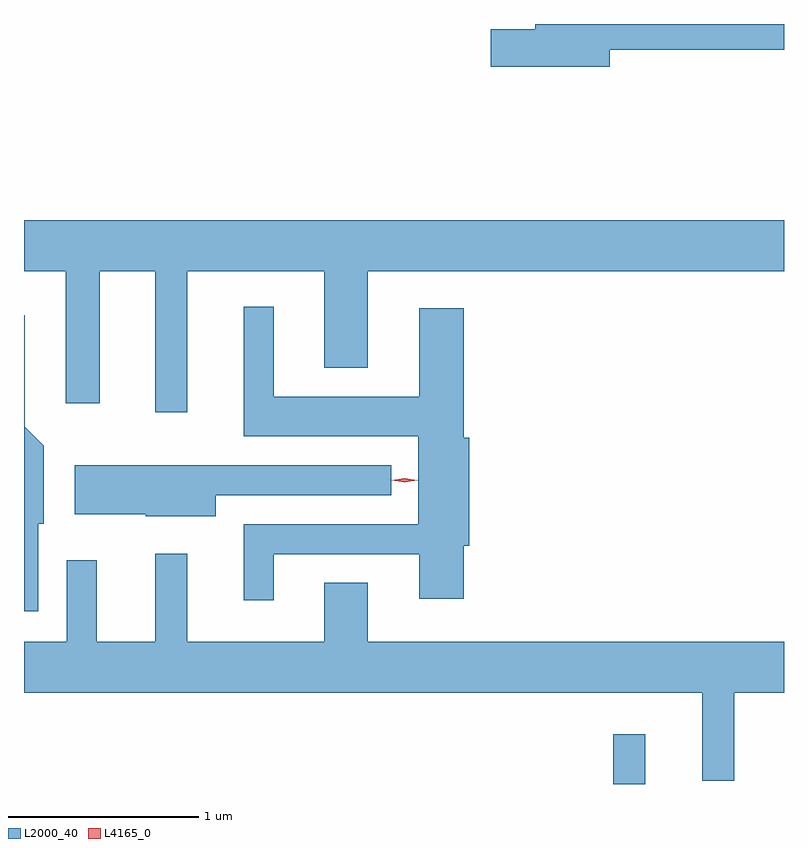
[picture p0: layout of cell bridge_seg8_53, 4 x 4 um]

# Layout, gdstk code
import gdstk
lib = gdstk.Library(unit=1e-6, precision=1e-09)
def R(c, l, rs):  # rectangles x0, y0, x1, y1
    for r in rs: c.add(gdstk.rectangle(r[:2], r[2:], *l))
def P(c, l, *ps):  # polygons
    for p in ps: c.add(gdstk.Polygon(p, *l))
L2000_40 = (2000, 40)
L4165_0 = (4165, 0)

bridge_seg8_53 = lib.new_cell('bridge_seg8_53')
R(bridge_seg8_53, L2000_40, [(1571.591,1902.536,1571.759,1902.798)])
P(bridge_seg8_53, L2000_40, [(1571.574,1906.401),(1572.49,1906.401),(1572.49,1906.536),(1571.181,1906.536),(1571.181,1906.509),(1570.946,1906.509),(1570.946,1906.311),(1571.574,1906.311)],
  [(1569.349,1905.236),(1570.071,1905.236),(1570.071,1904.726),(1570.299,1904.726),(1570.299,1905.236),(1572.49,1905.236),(1572.49,1905.504),(1568.49,1905.504),(1568.49,1905.236),(1568.711,1905.236),(1568.711,1904.541),(1568.889,1904.541),(1568.889,1905.236),(1569.181,1905.236),(1569.181,1904.493),(1569.349,1904.493)],
  [(1569.804,1903.746),(1570.571,1903.746),(1570.571,1903.511),(1570.804,1903.511),(1570.804,1903.791),(1570.834,1903.791),(1570.834,1904.359),(1570.804,1904.359),(1570.804,1905.039),(1570.571,1905.039),(1570.571,1904.574),(1569.804,1904.574),(1569.804,1905.048),(1569.646,1905.048),(1569.646,1904.366),(1570.566,1904.366),(1570.566,1903.904),(1569.646,1903.904),(1569.646,1903.503),(1569.804,1903.503)],
  [(1568.564,1903.906),(1568.594,1903.906),(1568.594,1904.317),(1568.494,1904.417),(1568.494,1905.004),(1568.49,1905.004),(1568.49,1903.446),(1568.564,1903.446)],
  [(1569.499,1904.056),(1570.423,1904.056),(1570.423,1904.214),(1568.756,1904.214),(1568.756,1903.956),(1569.13,1903.956),(1569.13,1903.946),(1569.499,1903.946)],
  [(1572.229,1903.016),(1572.49,1903.016),(1572.49,1903.284),(1570.299,1903.284),(1570.299,1903.594),(1570.071,1903.594),(1570.071,1903.284),(1569.349,1903.284),(1569.349,1903.748),(1569.181,1903.748),(1569.181,1903.284),(1568.874,1903.284),(1568.874,1903.713),(1568.716,1903.713),(1568.716,1903.284),(1568.49,1903.284),(1568.49,1903.016),(1572.061,1903.016),(1572.061,1902.553),(1572.229,1902.553)])
P(bridge_seg8_53, L4165_0, [(1570.493,1904.124),(1570.424,1904.134),(1570.424,1904.134),(1570.424,1904.134),(1570.493,1904.144),(1570.561,1904.134),(1570.562,1904.134),(1570.561,1904.134)],
  [(1570.492,1904.125),(1570.427,1904.135),(1570.427,1904.135),(1570.427,1904.136),(1570.492,1904.145),(1570.557,1904.136),(1570.557,1904.135),(1570.557,1904.135)])

lib.write_gds('bridge_seg8_53.gds')
